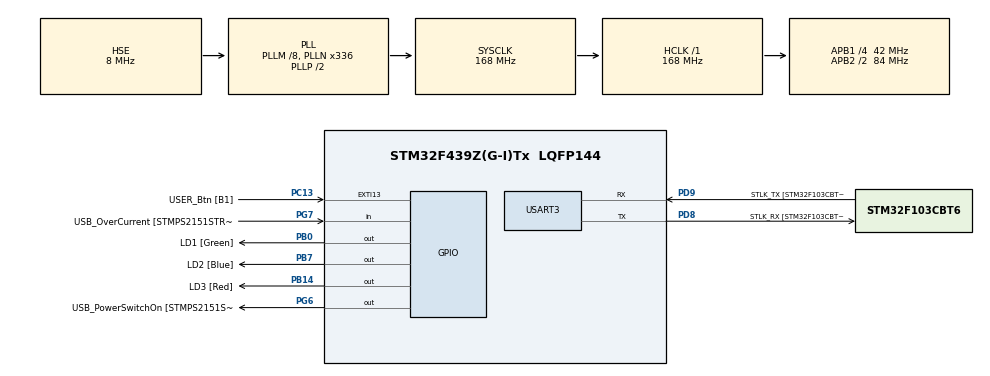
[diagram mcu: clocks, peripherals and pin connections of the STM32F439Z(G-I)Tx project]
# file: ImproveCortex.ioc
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Mcu.Family=STM32F4
Mcu.Name=STM32F439Z(G-I)Tx
Mcu.Package=LQFP144
NVIC.PriorityGroup=NVIC_PRIORITYGROUP_4
PA1.GPIO_Label=RMII_REF_CLK [LAN8742A-CZ-TR_REFCLK0]
PA1.Signal=ETH_REF_CLK
PA10.GPIO_Label=USB_ID
PA10.Signal=USB_OTG_FS_ID
PA11.GPIO_Label=USB_DM
PA11.Signal=USB_OTG_FS_DM
PA12.GPIO_Label=USB_DP
PA12.Signal=USB_OTG_FS_DP
PA13.GPIO_Label=TMS
PA13.Mode=Serial_Wire
PA13.Signal=SYS_JTMS-SWDIO
PA14.GPIO_Label=TCK
PA14.Mode=Serial_Wire
PA14.Signal=SYS_JTCK-SWCLK
PA2.GPIO_Label=RMII_MDIO [LAN8742A-CZ-TR_MDIO]
PA2.Signal=ETH_MDIO
PA7.GPIO_Label=RMII_CRS_DV [LAN8742A-CZ-TR_CRS_DV]
PA7.Signal=ETH_CRS_DV
PA8.GPIO_Label=USB_SOF [TP1]
PA8.Signal=USB_OTG_FS_SOF
PA9.GPIO_Label=USB_VBUS
PA9.Signal=USB_OTG_FS_VBUS
PB0.GPIO_Label=LD1 [Green]
PB0.Signal=GPIO_Output
PB13.GPIO_Label=RMII_TXD1 [LAN8742A-CZ-TR_TXD1]
PB13.Signal=ETH_TXD1
PB14.GPIO_Label=LD3 [Red]
PB14.Signal=GPIO_Output
PB7.GPIO_Label=LD2 [Blue]
PB7.Signal=GPIO_Output
PC1.GPIO_Label=RMII_MDC [LAN8742A-CZ-TR_MDC]
PC1.Signal=ETH_MDC
PC13.GPIO_Label=USER_Btn [B1]
PC13.Signal=GPXTI13
PC14/OSC32_IN.Mode=LSE-External-Oscillator
PC14/OSC32_IN.Signal=RCC_OSC32_IN
PC15/OSC32_OUT.Mode=LSE-External-Oscillator
PC15/OSC32_OUT.Signal=RCC_OSC32_OUT
PC4.GPIO_Label=RMII_RXD0 [LAN8742A-CZ-TR_RXD0]
PC4.Signal=ETH_RXD0
PC5.GPIO_Label=RMII_RXD1 [LAN8742A-CZ-TR_RXD1]
PC5.Signal=ETH_RXD1
PD8.GPIO_Label=STLK_RX [STM32F103CBT6_PA3]
PD8.Mode=Asynchronous
PD8.Signal=USART3_TX
PD9.GPIO_Label=STLK_TX [STM32F103CBT6_PA2]
PD9.Mode=Asynchronous
PD9.Signal=USART3_RX
PG11.GPIO_Label=RMII_TX_EN [LAN8742A-CZ-TR_TXEN]
PG11.Signal=ETH_TX_EN
PG13.GPIO_Label=RMII_TXD0 [LAN8742A-CZ-TR_TXD0]
PG13.Signal=ETH_TXD0
PG6.GPIO_Label=USB_PowerSwitchOn [STMPS2151STR_EN]
PG6.Signal=GPIO_Output
PG7.GPIO_Label=USB_OverCurrent [STMPS2151STR_FAULT]
PG7.Signal=GPIO_Input
PH0/OSC_IN.GPIO_Label=MCO [STM32F103CBT6_PA8]
PH0/OSC_IN.Mode=HSE-External-Clock-Source
PH0/OSC_IN.Signal=RCC_OSC_IN
PH1/OSC_OUT.Mode=HSE-External-Clock-Source
PH1/OSC_OUT.Signal=RCC_OSC_OUT
ProjectManager.HeapSize=0x200
ProjectManager.StackSize=0x400
ProjectManager.TargetToolchain=CMake
RCC.48MHZClocksFreq_Value=84000000
RCC.AHBFreq_Value=168000000
RCC.APB1CLKDivider=RCC_HCLK_DIV4
RCC.APB1Freq_Value=42000000
RCC.APB1TimFreq_Value=84000000
RCC.APB2CLKDivider=RCC_HCLK_DIV2
RCC.APB2Freq_Value=84000000
RCC.APB2TimFreq_Value=168000000
RCC.CortexFreq_Value=168000000
RCC.HCLKFreq_Value=168000000
RCC.HSE_VALUE=8000000
RCC.HSI_VALUE=16000000
RCC.PLLM=8
RCC.PLLMUL=RCC_PLL_MUL9
RCC.PLLN=336
RCC.PLLSourceVirtual=RCC_PLLSOURCE_HSE
RCC.PRESCALERUSB=RCC_USBCLKSOURCE_PLL_DIV1_5
RCC.SYSCLKFreq_VALUE=168000000
RCC.SYSCLKSource=RCC_SYSCLKSOURCE_PLLCLK
RCC.SYSCLKSourceVirtual=RCC_SYSCLKSOURCE_PLLCLK
RCC.USBFreq_Value=48000000
RCC.VCOOutputFreq_Value=336000000
USART3.VirtualMode=VM_ASYNC
board=NUCLEO-F439ZI

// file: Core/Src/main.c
/* USER CODE BEGIN Header */
/**
 ******************************************************************************
 * @file           : main.c
 * @brief          : Main program body
 ******************************************************************************
 * @attention
 *
 * Copyright (c) 2026 STMicroelectronics.
 * All rights reserved.
 *
 * This software is licensed under terms that can be found in the LICENSE file
 * in the root directory of this software component.
 * If no LICENSE file comes with this software, it is provided AS-IS.
 *
 ******************************************************************************
 */
/* USER CODE END Header */
#include "main.h"

/* USER CODE BEGIN Includes */
#include "itm.h"
#include "printITM.h"
#include "random.h"
#include "stm32f4xx.h"
#include "stm32f4xx_hal.h"
#include <complex.h>
#include <math.h>
#include <stdio.h>
#include "SEGGER_RTT.h"

/* USER CODE END Includes */

UART_HandleTypeDef huart3;

/* USER CODE BEGIN PV */
// double y =0.0;
/* USER CODE END PV */

void SystemClock_Config(void);
static void MX_GPIO_Init(void);
static void MX_USART3_UART_Init(void);

/* USER CODE BEGIN 0 */

/*int _write(int file, char *ptr, int len)
  {
    HAL_UART_Transmit(&huart3, (uint8_t*)ptr, len, HAL_MAX_DELAY);
    return len;
  }
*/

/* USER CODE END 0 */

int main(void)
{

  /* MCU Configuration--------------------------------------------------------*/

  /* Reset of all peripherals, Initializes the Flash interface and the Systick. */
  HAL_Init();

  /* USER CODE BEGIN Init */
  // ITM_Init();
  /* USER CODE END Init */

  /* Configure the system clock */
  SystemClock_Config();

  /* USER CODE BEGIN SysInit */
  // ITM_Init();
  /* USER CODE END SysInit */

  /* Initialize all configured peripherals */
  MX_GPIO_Init();
  MX_USART3_UART_Init();
  /* USER CODE BEGIN 2 */

  // Ensure PB3 is set to AF0 (Trace SWO)
  /*Even if CubeMX generates the code, it's safer to f
  orce it at the start of your ITM setup to ensure no other
  peripheral (like an SPI) has "hijacked" the pin: */

  // RCC->AHB1ENR |= RCC_AHB1ENR_GPIOBEN;
  // GPIOB->MODER = (GPIOB->MODER & ~(3UL << 6)) | (2UL << 6); // AF Mode
  // GPIOB->AFR[0] &= ~(0xFUL << 12);                          // AF0 for Pin 3
  // GPIOB->OSPEEDR |= (3UL << 6); // Max speed for 168MHz core
                                /* #####################################*/

  // DWT_Init();

  /* if ((CoreDebug->DHCSR & CoreDebug_DHCSR_C_DEBUGEN_Msk) &&
      (CoreDebug->DEMCR & CoreDebug_DEMCR_TRCENA_Msk)) {
    //(CoreDebug->DHCSR) & CoreDebug_DHCSR_C_DEBUGEN_Msk;
       // (CoreDebug->DEMCR & CoreDebug_DEMCR_TRCENA_Msk);

        ITM_Init();
  } */
  //ITM_Init();
  // Initialize RTT (Optional, but good practice)
    SEGGER_RTT_Init();
HAL_Delay(200); // small delay to ensure ITM is ready before sending data
  /*
  volatile uint32_t ter = ITM->TER;   // check in debugger
  for (int i = 0; i < 20; i++) {
    ITM->PORT[1].u8 = 0x55;
    for (volatile int d = 0; d < 50000; d++);
}
   */
  // ITM_Init_Passive();
  // ITM_Init_Stable();
  // DWT_Init();
  // printITMport0("Hello, World!: %lu \r\n",ter);
  /* USER CODE END 2 */

  /* Infinite loop */
  /* USER CODE BEGIN WHILE */
  /*
    ITM->PORT[1].u8 = 0x11;
  ITM->PORT[1].u8 = 0x22;
  ITM->PORT[1].u8 = 0x33;
  ITM->PORT[1].u8 = 0x44;

   */

  //int n = 0;
  //  double m=0.0;
  int i = 0;

  while (1) {
    //double y = 100.0 * sin(2 * M_PI * i / 1000.0);
    //float yf = (float)y;

    //ITM_SendFloat(1, yf);
    printITMport(0, "number: %d \r\n", i);
    // Use this instead of your old ITM print
        SEGGER_RTT_WriteString(0, "Hello from RTT!\r\n");
        HAL_Delay(1000);
    i = (i + 1) % 1000;
    // for (volatile int d = 0; d < 2000; d++);
    HAL_Delay(80); // small delay

    // stream y here

    HAL_GPIO_WritePin(GPIOB, LD1_Pin, GPIO_PIN_SET);
    HAL_Delay(20);
    HAL_GPIO_WritePin(GPIOB, LD1_Pin, GPIO_PIN_RESET);
    HAL_Delay(20);
    HAL_GPIO_WritePin(GPIOB, LD2_Pin, GPIO_PIN_SET);
    HAL_Delay(20);
    HAL_GPIO_WritePin(GPIOB, LD2_Pin, GPIO_PIN_RESET);
    HAL_Delay(20);
    HAL_GPIO_WritePin(GPIOB, LD3_Pin, GPIO_PIN_SET);
    HAL_Delay(20);
    HAL_GPIO_WritePin(GPIOB, LD3_Pin, GPIO_PIN_RESET);
    HAL_Delay(20);

    // n++;
 /*
        printITMport(0, "Random: %d\r\n", n);
        printITMport1_hex();
        printITMport(0, "Mean: %f\r\n", 9.5);
        printrandom(n);
        printITMport(0, "Hello, World! %d\r\n", n);
        if (n == 9) {
          n = 0;
        }
        printITMport(0, "port 1 test:\r\n");
        printITMport(0, "port 1 test:\r\n");
 */
    /* USER CODE END WHILE */

  }
}

void SystemClock_Config(void)
{
  RCC_OscInitTypeDef RCC_OscInitStruct = {0};
  RCC_ClkInitTypeDef RCC_ClkInitStruct = {0};

  /** Configure the main internal regulator output voltage
  */
  __HAL_RCC_PWR_CLK_ENABLE();
  __HAL_PWR_VOLTAGESCALING_CONFIG(PWR_REGULATOR_VOLTAGE_SCALE1);

  /** Initializes the RCC Oscillators according to the specified parameters
  * in the RCC_OscInitTypeDef structure.
  */
  RCC_OscInitStruct.OscillatorType = RCC_OSCILLATORTYPE_HSE;
  RCC_OscInitStruct.HSEState = RCC_HSE_BYPASS;
  RCC_OscInitStruct.PLL.PLLState = RCC_PLL_ON;
  RCC_OscInitStruct.PLL.PLLSource = RCC_PLLSOURCE_HSE;
  RCC_OscInitStruct.PLL.PLLM = 8;
  RCC_OscInitStruct.PLL.PLLN = 336;
  RCC_OscInitStruct.PLL.PLLP = RCC_PLLP_DIV2;
  RCC_OscInitStruct.PLL.PLLQ = 4;
  if (HAL_RCC_OscConfig(&RCC_OscInitStruct) != HAL_OK)
  {
    Error_Handler();
  }

  /** Initializes the CPU, AHB and APB buses clocks
  */
  RCC_ClkInitStruct.ClockType = RCC_CLOCKTYPE_HCLK|RCC_CLOCKTYPE_SYSCLK
                              |RCC_CLOCKTYPE_PCLK1|RCC_CLOCKTYPE_PCLK2;
  RCC_ClkInitStruct.SYSCLKSource = RCC_SYSCLKSOURCE_PLLCLK;
  RCC_ClkInitStruct.AHBCLKDivider = RCC_SYSCLK_DIV1;
  RCC_ClkInitStruct.APB1CLKDivider = RCC_HCLK_DIV4;
  RCC_ClkInitStruct.APB2CLKDivider = RCC_HCLK_DIV2;

  if (HAL_RCC_ClockConfig(&RCC_ClkInitStruct, FLASH_LATENCY_5) != HAL_OK)
  {
    Error_Handler();
  }
}

static void MX_USART3_UART_Init(void)
{

  huart3.Instance = USART3;
  huart3.Init.BaudRate = 115200;
  huart3.Init.WordLength = UART_WORDLENGTH_8B;
  huart3.Init.StopBits = UART_STOPBITS_1;
  huart3.Init.Parity = UART_PARITY_NONE;
  huart3.Init.Mode = UART_MODE_TX_RX;
  huart3.Init.HwFlowCtl = UART_HWCONTROL_NONE;
  huart3.Init.OverSampling = UART_OVERSAMPLING_16;
  if (HAL_UART_Init(&huart3) != HAL_OK)
  {
    Error_Handler();
  }

}

static void MX_GPIO_Init(void)
{
  GPIO_InitTypeDef GPIO_InitStruct = {0};

  /* GPIO Ports Clock Enable */
  __HAL_RCC_GPIOC_CLK_ENABLE();
  __HAL_RCC_GPIOH_CLK_ENABLE();
  __HAL_RCC_GPIOA_CLK_ENABLE();
  __HAL_RCC_GPIOB_CLK_ENABLE();
  __HAL_RCC_GPIOD_CLK_ENABLE();
  __HAL_RCC_GPIOG_CLK_ENABLE();

  /*Configure GPIO pin Output Level */
  HAL_GPIO_WritePin(GPIOB, LD1_Pin|LD3_Pin|LD2_Pin, GPIO_PIN_RESET);

  /*Configure GPIO pin Output Level */
  HAL_GPIO_WritePin(USB_PowerSwitchOn_GPIO_Port, USB_PowerSwitchOn_Pin, GPIO_PIN_RESET);

  /*Configure GPIO pin : USER_Btn_Pin */
  GPIO_InitStruct.Pin = USER_Btn_Pin;
  GPIO_InitStruct.Mode = GPIO_MODE_IT_RISING;
  GPIO_InitStruct.Pull = GPIO_NOPULL;
  HAL_GPIO_Init(USER_Btn_GPIO_Port, &GPIO_InitStruct);

  /*Configure GPIO pins : RMII_MDC_Pin RMII_RXD0_Pin RMII_RXD1_Pin */
  GPIO_InitStruct.Pin = RMII_MDC_Pin|RMII_RXD0_Pin|RMII_RXD1_Pin;
  GPIO_InitStruct.Mode = GPIO_MODE_AF_PP;
  GPIO_InitStruct.Pull = GPIO_NOPULL;
  GPIO_InitStruct.Speed = GPIO_SPEED_FREQ_VERY_HIGH;
  GPIO_InitStruct.Alternate = GPIO_AF11_ETH;
  HAL_GPIO_Init(GPIOC, &GPIO_InitStruct);

  /*Configure GPIO pins : RMII_REF_CLK_Pin RMII_MDIO_Pin RMII_CRS_DV_Pin */
  GPIO_InitStruct.Pin = RMII_REF_CLK_Pin|RMII_MDIO_Pin|RMII_CRS_DV_Pin;
  GPIO_InitStruct.Mode = GPIO_MODE_AF_PP;
  GPIO_InitStruct.Pull = GPIO_NOPULL;
  GPIO_InitStruct.Speed = GPIO_SPEED_FREQ_VERY_HIGH;
  GPIO_InitStruct.Alternate = GPIO_AF11_ETH;
  HAL_GPIO_Init(GPIOA, &GPIO_InitStruct);

  /*Configure GPIO pins : LD1_Pin LD3_Pin LD2_Pin */
  GPIO_InitStruct.Pin = LD1_Pin|LD3_Pin|LD2_Pin;
  GPIO_InitStruct.Mode = GPIO_MODE_OUTPUT_PP;
  GPIO_InitStruct.Pull = GPIO_NOPULL;
  GPIO_InitStruct.Speed = GPIO_SPEED_FREQ_LOW;
  HAL_GPIO_Init(GPIOB, &GPIO_InitStruct);

  /*Configure GPIO pin : RMII_TXD1_Pin */
  GPIO_InitStruct.Pin = RMII_TXD1_Pin;
  GPIO_InitStruct.Mode = GPIO_MODE_AF_PP;
  GPIO_InitStruct.Pull = GPIO_NOPULL;
  GPIO_InitStruct.Speed = GPIO_SPEED_FREQ_VERY_HIGH;
  GPIO_InitStruct.Alternate = GPIO_AF11_ETH;
  HAL_GPIO_Init(RMII_TXD1_GPIO_Port, &GPIO_InitStruct);

  /*Configure GPIO pin : USB_PowerSwitchOn_Pin */
  GPIO_InitStruct.Pin = USB_PowerSwitchOn_Pin;
  GPIO_InitStruct.Mode = GPIO_MODE_OUTPUT_PP;
  GPIO_InitStruct.Pull = GPIO_NOPULL;
  GPIO_InitStruct.Speed = GPIO_SPEED_FREQ_LOW;
  HAL_GPIO_Init(USB_PowerSwitchOn_GPIO_Port, &GPIO_InitStruct);

  /*Configure GPIO pin : USB_OverCurrent_Pin */
  GPIO_InitStruct.Pin = USB_OverCurrent_Pin;
  GPIO_InitStruct.Mode = GPIO_MODE_INPUT;
  GPIO_InitStruct.Pull = GPIO_NOPULL;
  HAL_GPIO_Init(USB_OverCurrent_GPIO_Port, &GPIO_InitStruct);

  /*Configure GPIO pins : USB_SOF_Pin USB_ID_Pin USB_DM_Pin USB_DP_Pin */
  GPIO_InitStruct.Pin = USB_SOF_Pin|USB_ID_Pin|USB_DM_Pin|USB_DP_Pin;
  GPIO_InitStruct.Mode = GPIO_MODE_AF_PP;
  GPIO_InitStruct.Pull = GPIO_NOPULL;
  GPIO_InitStruct.Speed = GPIO_SPEED_FREQ_VERY_HIGH;
  GPIO_InitStruct.Alternate = GPIO_AF10_OTG_FS;
  HAL_GPIO_Init(GPIOA, &GPIO_InitStruct);

  /*Configure GPIO pin : USB_VBUS_Pin */
  GPIO_InitStruct.Pin = USB_VBUS_Pin;
  GPIO_InitStruct.Mode = GPIO_MODE_INPUT;
  GPIO_InitStruct.Pull = GPIO_NOPULL;
  HAL_GPIO_Init(USB_VBUS_GPIO_Port, &GPIO_InitStruct);

  /*Configure GPIO pins : RMII_TX_EN_Pin RMII_TXD0_Pin */
  GPIO_InitStruct.Pin = RMII_TX_EN_Pin|RMII_TXD0_Pin;
  GPIO_InitStruct.Mode = GPIO_MODE_AF_PP;
  GPIO_InitStruct.Pull = GPIO_NOPULL;
  GPIO_InitStruct.Speed = GPIO_SPEED_FREQ_VERY_HIGH;
  GPIO_InitStruct.Alternate = GPIO_AF11_ETH;
  HAL_GPIO_Init(GPIOG, &GPIO_InitStruct);

}

void Error_Handler(void)
{
  __disable_irq();
  while (1) {
  }
}
#ifdef USE_FULL_ASSERT
/**
  * @brief  Reports the name of the source file and the source line number
  *         where the assert_param error has occurred.
  * @param  file: pointer to the source file name
  * @param  line: assert_param error line source number
  * @retval None
  */
void assert_failed(uint8_t *file, uint32_t line)
{
  /* USER CODE BEGIN 6 */
  /* User can add his own implementation to report the file name and line
     number, ex: printf("Wrong parameters value: file %s on line %d\r\n", file,
     line) */
  /* USER CODE END 6 */
}
#endif /* USE_FULL_ASSERT */
